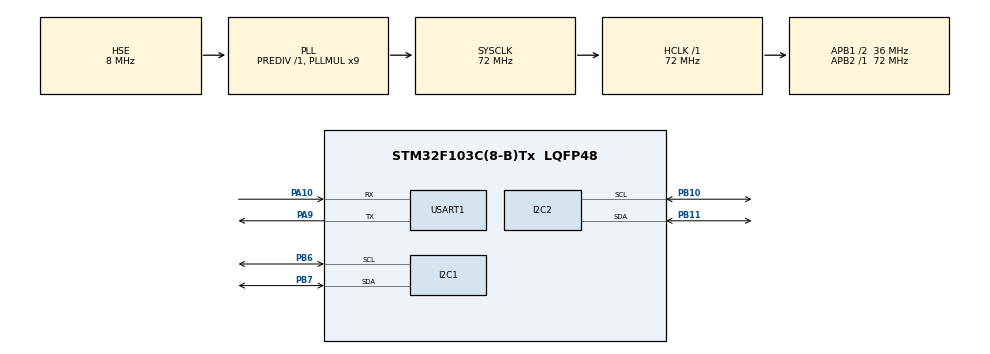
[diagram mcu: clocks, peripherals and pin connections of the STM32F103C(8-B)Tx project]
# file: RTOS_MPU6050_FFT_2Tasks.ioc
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FREERTOS.INCLUDE_vTaskDelayUntil=1
FREERTOS.Mutexes01=myMutex01,Dynamic,NULL
FREERTOS.Tasks01=FFT_and_Send,0,2000,FFT_and_Send_Task,Default,NULL,Dynamic,NULL,NULL;Sample,0,128,Sample_Task,Default,NULL,Dynamic,NULL,NULL
FREERTOS.configCHECK_FOR_STACK_OVERFLOW=2
FREERTOS.configTOTAL_HEAP_SIZE=10000
FREERTOS.configUSE_MALLOC_FAILED_HOOK=1
I2C1.I2C_Mode=I2C_Fast
Mcu.Family=STM32F1
Mcu.Name=STM32F103C(8-B)Tx
Mcu.Package=LQFP48
NVIC.PriorityGroup=NVIC_PRIORITYGROUP_4
NVIC.TIM2_IRQn=true\:15\:0\:false\:false\:true\:false\:false\:true\:true
NVIC.TimeBase=TIM2_IRQn
NVIC.TimeBaseIP=TIM2
PA10.Mode=Asynchronous
PA10.Signal=USART1_RX
PA9.Mode=Asynchronous
PA9.Signal=USART1_TX
PB10.Mode=I2C
PB10.Signal=I2C2_SCL
PB11.Mode=I2C
PB11.Signal=I2C2_SDA
PB6.Mode=I2C
PB6.Signal=I2C1_SCL
PB7.Mode=I2C
PB7.Signal=I2C1_SDA
PC14-OSC32_IN.Mode=LSE-External-Oscillator
PC14-OSC32_IN.Signal=RCC_OSC32_IN
PC15-OSC32_OUT.Mode=LSE-External-Oscillator
PC15-OSC32_OUT.Signal=RCC_OSC32_OUT
PD0-OSC_IN.Mode=HSE-External-Oscillator
PD0-OSC_IN.Signal=RCC_OSC_IN
PD1-OSC_OUT.Mode=HSE-External-Oscillator
PD1-OSC_OUT.Signal=RCC_OSC_OUT
ProjectManager.HeapSize=0x200
ProjectManager.StackSize=0x400
ProjectManager.TargetToolchain=STM32CubeIDE
RCC.AHBFreq_Value=72000000
RCC.APB1CLKDivider=RCC_HCLK_DIV2
RCC.APB1Freq_Value=36000000
RCC.APB1TimFreq_Value=72000000
RCC.APB2Freq_Value=72000000
RCC.APB2TimFreq_Value=72000000
RCC.HCLKFreq_Value=72000000
RCC.PLLMUL=RCC_PLL_MUL9
RCC.PLLSourceVirtual=RCC_PLLSOURCE_HSE
RCC.SYSCLKFreq_VALUE=72000000
RCC.SYSCLKSource=RCC_SYSCLKSOURCE_PLLCLK
RCC.USBFreq_Value=72000000
USART1.VirtualMode=VM_ASYNC
VP_FREERTOS_VS_CMSIS_V1.Mode=CMSIS_V1
VP_SYS_VS_tim2.Mode=TIM2
board=custom

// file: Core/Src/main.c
/* USER CODE BEGIN Header */
/**
  ******************************************************************************
  * @file           : main.c
  * @brief          : Main program body
  ******************************************************************************
  * @attention
  *
  * Copyright (c) 2023 STMicroelectronics.
  * All rights reserved.
  *
  * This software is licensed under terms that can be found in the LICENSE file
  * in the root directory of this software component.
  * If no LICENSE file comes with this software, it is provided AS-IS.
  *
  ******************************************************************************
  */
/* USER CODE END Header */
#include "main.h"
#include "cmsis_os.h"
#include "i2c.h"
#include "usart.h"
#include "gpio.h"

void SystemClock_Config(void);
void MX_FREERTOS_Init(void);

int main(void)
{

  /* MCU Configuration--------------------------------------------------------*/

  /* Reset of all peripherals, Initializes the Flash interface and the Systick. */
  HAL_Init();

  /* Configure the system clock */
  SystemClock_Config();

  /* Initialize all configured peripherals */
  MX_GPIO_Init();
  MX_I2C2_Init();
  MX_USART1_UART_Init();
  MX_I2C1_Init();

  /* Call init function for freertos objects (in freertos.c) */
  MX_FREERTOS_Init();

  /* Start scheduler */
  osKernelStart();
  /* We should never get here as control is now taken by the scheduler */
  /* Infinite loop */
  /* USER CODE BEGIN WHILE */
  while (1)
  {
	  // multiple tasks in freertos
    /* USER CODE END WHILE */

  }
}

void SystemClock_Config(void)
{
  RCC_OscInitTypeDef RCC_OscInitStruct = {0};
  RCC_ClkInitTypeDef RCC_ClkInitStruct = {0};

  /** Initializes the RCC Oscillators according to the specified parameters
  * in the RCC_OscInitTypeDef structure.
  */
  RCC_OscInitStruct.OscillatorType = RCC_OSCILLATORTYPE_HSE;
  RCC_OscInitStruct.HSEState = RCC_HSE_ON;
  RCC_OscInitStruct.HSEPredivValue = RCC_HSE_PREDIV_DIV1;
  RCC_OscInitStruct.HSIState = RCC_HSI_ON;
  RCC_OscInitStruct.PLL.PLLState = RCC_PLL_ON;
  RCC_OscInitStruct.PLL.PLLSource = RCC_PLLSOURCE_HSE;
  RCC_OscInitStruct.PLL.PLLMUL = RCC_PLL_MUL9;
  if (HAL_RCC_OscConfig(&RCC_OscInitStruct) != HAL_OK)
  {
    Error_Handler();
  }

  /** Initializes the CPU, AHB and APB buses clocks
  */
  RCC_ClkInitStruct.ClockType = RCC_CLOCKTYPE_HCLK|RCC_CLOCKTYPE_SYSCLK
                              |RCC_CLOCKTYPE_PCLK1|RCC_CLOCKTYPE_PCLK2;
  RCC_ClkInitStruct.SYSCLKSource = RCC_SYSCLKSOURCE_PLLCLK;
  RCC_ClkInitStruct.AHBCLKDivider = RCC_SYSCLK_DIV1;
  RCC_ClkInitStruct.APB1CLKDivider = RCC_HCLK_DIV2;
  RCC_ClkInitStruct.APB2CLKDivider = RCC_HCLK_DIV1;

  if (HAL_RCC_ClockConfig(&RCC_ClkInitStruct, FLASH_LATENCY_2) != HAL_OK)
  {
    Error_Handler();
  }
}

void HAL_TIM_PeriodElapsedCallback(TIM_HandleTypeDef *htim)
{
  if (htim->Instance == TIM2) {
    HAL_IncTick();
  }
}

void Error_Handler(void)
{
  __disable_irq();
  while (1)
  {
  }
}

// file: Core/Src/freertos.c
/* USER CODE BEGIN Header */
/**
  ******************************************************************************
  * File Name          : freertos.c
  * Description        : Code for freertos applications
  ******************************************************************************
  * @attention
  *
  * Copyright (c) 2023 STMicroelectronics.
  * All rights reserved.
  *
  * This software is licensed under terms that can be found in the LICENSE file
  * in the root directory of this software component.
  * If no LICENSE file comes with this software, it is provided AS-IS.
  *
  ******************************************************************************
  */
/* USER CODE END Header */

#include "FreeRTOS.h"
#include "task.h"
#include "main.h"
#include "cmsis_os.h"

/* USER CODE BEGIN Includes */
#include <math.h>
#include <stdio.h>
#include <stdlib.h>
#include <string.h>
#include "fonts.h"
#include "ssd1306.h"
/* USER CODE END Includes */

/* USER CODE BEGIN PTD */
typedef struct MPU6050
{
	int16_t Accel_X_RAW; //raw data of acceleration x (16384 means 1 g)
	int16_t Accel_Y_RAW; //raw data of acceleration y
	int16_t Accel_Z_RAW; //raw data of acceleration z

	//float Ax, Ay, Az;

	void (*Init)(void);
	void (*Read_Accel)(struct MPU6050_t*);
}MPU6050_t;
/* USER CODE END PTD */

/* USER CODE BEGIN PD */
#define MPU6050_ADDR 0xD0 //(0b1101000 <<1) + 0
#define SMPLRT_DIV_REG 0x19
#define ACCEL_CONFIG_REG 0x1C
#define ACCEL_XOUT_H_REG 0x3B
#define TEMP_OUT_H_REG 0x41
#define PWR_MGMT_1_REG 0x6B
#define WHO_AM_I_REG 0x75

#define NPT 256 //number of samples
#define Fs 500 //Sample frequency
#define PI2 6.28318530717959 //2Pi
#define Freq_Increment (Fs*1.0/NPT) //frequency resolution

#define BUFFER_SIZE NPT // buffer size of circular buffer
typedef struct {
	uint32_t buffer[BUFFER_SIZE];
    int head;  // point at the latest data
    int tail;  // point at the oldest data
    int count; // number of elements in the buffer
} CircularBuffer;
/* USER CODE END PD */

/* USER CODE BEGIN Variables */

//input array, output array and magnitude array(normalized absolute value)
uint32_t input[NPT], output[NPT], Mag[NPT/2];

CircularBuffer buffer; //the circular buffer
MPU6050_t imu1; // the Inertial Measurement Unit

extern I2C_HandleTypeDef hi2c1; //IIC1: OLED display
extern I2C_HandleTypeDef hi2c2; //IIC2: MPU6050
extern UART_HandleTypeDef huart1; //UART: communicate with the host computer

/* USER CODE END Variables */
osThreadId FFT_and_SendHandle;
osThreadId SampleHandle;
osMutexId myMutex01Handle;

/* USER CODE BEGIN FunctionPrototypes */
void MPU6050_Init (void)//(MPU6050_t *imu1)
{
	uint8_t check;
	uint8_t Data;
	char str[50];
	uint8_t stat;

	HAL_Delay(50);
	// check device ID WHO_AM_I

	stat=HAL_I2C_Mem_Read (&hi2c2, MPU6050_ADDR,WHO_AM_I_REG,1, &check, 1, 1000);
	if (stat != HAL_OK)
	{
		NVIC_SystemReset();
	}

	if (check == 0x68)  // 0x68 will be returned by the sensor if everything goes well
	{
		// power management register 0X6B we should write all 0's to wake the sensor up
		Data = 0;
		HAL_I2C_Mem_Write(&hi2c2, MPU6050_ADDR, PWR_MGMT_1_REG, 1,&Data, 1, 1000);

		// Set DATA RATE of 1KHz by writing SMPLRT_DIV register
		Data = 0x07;
		HAL_I2C_Mem_Write(&hi2c2, MPU6050_ADDR, SMPLRT_DIV_REG, 1, &Data, 1, 1000);

		// Set accelerometer configuration in ACCEL_CONFIG Register
		// XA_ST=0,YA_ST=0,ZA_ST=0, FS_SEL=0 -> �??????????????? 2g
		Data = 0x00;
		HAL_I2C_Mem_Write(&hi2c2, MPU6050_ADDR, ACCEL_CONFIG_REG, 1, &Data, 1, 1000);

		sprintf(str, "MPU6050 initialized.\r\n");
		HAL_UART_Transmit(&huart1,(uint8_t*)str,strlen(str),0XFFFF);
	}
	else
	{
		sprintf(str, "The sensor is not MPU6050\r\n");
		HAL_UART_Transmit(&huart1,(uint8_t*)str,strlen(str),0XFFFF);
		HAL_Delay(10);
	}

}

void MPU6050_Read_Accel (MPU6050_t *imu1)
{
	uint8_t Rec_Data[6];
	uint8_t stat;

	// Read 6 BYTES of data starting from ACCEL_XOUT_H register

	stat=HAL_I2C_Mem_Read (&hi2c2, MPU6050_ADDR, ACCEL_XOUT_H_REG, 1, Rec_Data, 6, 1000);

	if (stat != HAL_OK)
	{
		NVIC_SystemReset();
	}

	imu1->Accel_X_RAW = (int16_t)(Rec_Data[0] << 8 | Rec_Data [1]);
	imu1->Accel_Y_RAW = (int16_t)(Rec_Data[2] << 8 | Rec_Data [3]);
	imu1->Accel_Z_RAW = (int16_t)(Rec_Data[4] << 8 | Rec_Data [5]);

	/*** convert the RAW values into acceleration in 'g'
	     we have to divide according to the Full scale value set in FS_SEL
	     I have configured FS_SEL = 0. So I am dividing by 16384.0
	     for more details check ACCEL_CONFIG Register              ****/

//	imu1->Ax = imu1->Accel_X_RAW/16384.0;
//	imu1->Ay = imu1->Accel_Y_RAW/16384.0;
//	imu1->Az = imu1->Accel_Z_RAW/16384.0;
}

void PowerMag()
{
	int16_t lX,lY;
	uint16_t i;
	char str[50];
	float mag;
	// the magnitude
	for (i=0; i <NPT/2+1; i++)
	{
		lX= (output[i]<<16)>>16; //real part (LSB)
		lY= (output[i]>> 16);	//imaginary part
		mag = sqrtf(lX*lX+ lY*lY);//magnitude
		Mag[i]= mag*2;//for alternating component: mag*2

	}
	//for zero frequency component: mag=mag*2/2
	Mag[0] = Mag[0]>>1;// /2

}

void initCircularBuffer(CircularBuffer *cb)
{
    cb->head = 0;
    cb->tail = 0;
    cb->count = 0;
}

void addToCircularBuffer(CircularBuffer *cb, uint32_t data)
{
    cb->buffer[cb->head] = data;
    cb->head = (cb->head + 1) % BUFFER_SIZE; // increase head
    if (cb->count < BUFFER_SIZE) {
        cb->count++; // buffer not full, add count
    } else {
        cb->tail = (cb->tail + 1) % BUFFER_SIZE; // buffer is full, cover the oldest element
    }
}

int readFromCircularBuffer(CircularBuffer *cb)
{
    int data = cb->buffer[cb->tail];
    cb->tail = (cb->tail + 1) % BUFFER_SIZE; // increase tail
    if (cb->count > 0) {
        cb->count--; // decrease count
    }
    return data;
}

int getCircularBufferCount(CircularBuffer *cb)
{
    return cb->count;
}

void copyCircularBufferToArray(CircularBuffer *cb, int* array, int size)
{
    int originalCount = cb->count; // original number of elements
    int i;
    for (i = 0; i < size; i++) {
        array[i] = readFromCircularBuffer(cb);
    }
    cb->count = originalCount; // recover original number of elements
}

void printCircularBuffer(CircularBuffer *cb)
{
    int i;
    for (i = 0; i < BUFFER_SIZE; i++) {
        int index = (cb->tail + i) % BUFFER_SIZE; // the index of ele to be printed
        printf("Buffer[%d]: %d\n", i, cb->buffer[index]);
    }
}

int findMaxIndex(int arr[], int size)
{
    int maxIndex = 0; // store the index of the max. element

    for (int i = 1; i < size; i++) {
        if (arr[i] > arr[maxIndex]) {
            maxIndex = i; // update the index of the max. element
        }
    }

    return maxIndex;
}

/* USER CODE END FunctionPrototypes */

void FFT_and_Send_Task(void const * argument);
void Sample_Task(void const * argument);

void MX_FREERTOS_Init(void); /* (MISRA C 2004 rule 8.1) */

/* GetIdleTaskMemory prototype (linked to static allocation support) */
void vApplicationGetIdleTaskMemory( StaticTask_t **ppxIdleTaskTCBBuffer, StackType_t **ppxIdleTaskStackBuffer, uint32_t *pulIdleTaskStackSize );

/* Hook prototypes */
void vApplicationStackOverflowHook(xTaskHandle xTask, signed char *pcTaskName);
void vApplicationMallocFailedHook(void);

/* USER CODE BEGIN 4 */
__weak void vApplicationStackOverflowHook(xTaskHandle xTask, signed char *pcTaskName)
{
   /* Run time stack overflow checking is performed if
   configCHECK_FOR_STACK_OVERFLOW is defined to 1 or 2. This hook function is
   called if a stack overflow is detected. */
	char str[50];
	sprintf(str, "Task stack overflow detected.%d\r\n");
	HAL_UART_Transmit(&huart1,(uint8_t*)str,strlen(str),0XFFFF);
}
/* USER CODE END 4 */

/* USER CODE BEGIN 5 */
__weak void vApplicationMallocFailedHook(void)
{
   /* vApplicationMallocFailedHook() will only be called if
   configUSE_MALLOC_FAILED_HOOK is set to 1 in FreeRTOSConfig.h. It is a hook
   function that will get called if a call to pvPortMalloc() fails.
   pvPortMalloc() is called internally by the kernel whenever a task, queue,
   timer or semaphore is created. It is also called by various parts of the
   demo application. If heap_1.c or heap_2.c are used, then the size of the
   heap available to pvPortMalloc() is defined by configTOTAL_HEAP_SIZE in
   FreeRTOSConfig.h, and the xPortGetFreeHeapSize() API function can be used
   to query the size of free heap space that remains (although it does not
   provide information on how the remaining heap might be fragmented). */
	char str[50];
	sprintf(str, "MallocFailed\r\n");
	HAL_UART_Transmit(&huart1,(uint8_t*)str,strlen(str),0XFFFF);
}
/* USER CODE END 5 */

/* USER CODE BEGIN GET_IDLE_TASK_MEMORY */
static StaticTask_t xIdleTaskTCBBuffer;
static StackType_t xIdleStack[configMINIMAL_STACK_SIZE];

void vApplicationGetIdleTaskMemory( StaticTask_t **ppxIdleTaskTCBBuffer, StackType_t **ppxIdleTaskStackBuffer, uint32_t *pulIdleTaskStackSize )
{
  *ppxIdleTaskTCBBuffer = &xIdleTaskTCBBuffer;
  *ppxIdleTaskStackBuffer = &xIdleStack[0];
  *pulIdleTaskStackSize = configMINIMAL_STACK_SIZE;
  /* place for user code */
}
/* USER CODE END GET_IDLE_TASK_MEMORY */

void MX_FREERTOS_Init(void) {
  /* Create the mutex(es) */
  /* definition and creation of myMutex01 */
  osMutexDef(myMutex01);
  myMutex01Handle = osMutexCreate(osMutex(myMutex01));

  /* Create the thread(s) */
  /* definition and creation of FFT_and_Send */
  osThreadDef(FFT_and_Send, FFT_and_Send_Task, osPriorityNormal, 0, 2000);
  FFT_and_SendHandle = osThreadCreate(osThread(FFT_and_Send), NULL);

  /* definition and creation of Sample */
  osThreadDef(Sample, Sample_Task, osPriorityNormal, 0, 128);
  SampleHandle = osThreadCreate(osThread(Sample), NULL);

}

void FFT_and_Send_Task(void const * argument)
{
  /* USER CODE BEGIN FFT_and_Send_Task */

	  char str[50];
	  int len;

	  int size;//size of Mag[]
	  int maxIndex;//the index of the max. element in Mag[]

	  int index=1;

	  SSD1306_Init();
	  SSD1306_GotoXY (0,0);
	  SSD1306_Puts ("Frequency:", &Font_11x18, 1);
	  SSD1306_UpdateScreen();

	  TickType_t pxPreviousWakeTime;
	  pxPreviousWakeTime = xTaskGetTickCount();

  /* Infinite loop */
  for(;;)
  {

	  if(buffer.count<NPT)//data not enough in the circular buffer
	  {

	  }
	  else//data enough
	  {

			uint32_t* input = (uint32_t*)calloc(NPT , sizeof(uint32_t));
  //		    if (input == NULL) {
  //		        printf("Memory allocation failed.\n");
  //		        return 1;
  //		    }

		  xSemaphoreTake(myMutex01Handle,portMAX_DELAY);//take the mutex
		  copyCircularBufferToArray(&buffer, input, BUFFER_SIZE);
		  xSemaphoreGive(myMutex01Handle);//release the mutex

		  cr4_fft_256_stm32(output, input, NPT);//FFT
		  free(input);

		  PowerMag();//calculate the magnitude of FFT result

		  size = sizeof(Mag) / sizeof(Mag[0]);

		  //the index of the max. element in Mag[]
		  //the frequency with the max. magnitude
		  maxIndex = findMaxIndex(Mag, size);

		  sprintf(str, "%.2f Hz     ", (float)(maxIndex*Freq_Increment));

		  SSD1306_GotoXY (0,30);
		  SSD1306_Puts (str, &Font_11x18, 1);
		  SSD1306_UpdateScreen();

		  //UART send
		  sprintf(str, "Start\r\n");
		  HAL_UART_Transmit(&huart1,(uint8_t*)str,strlen(str),0XFFFF);

		  for(int i=0;i<NPT/2+1;i++)
		  {
			  sprintf(str, "%u\r\n", Mag[i]);
			  HAL_UART_Transmit(&huart1,(uint8_t*)str,strlen(str),0XFFFF);
		  }

		  sprintf(str, "End\r\n");
		  HAL_UART_Transmit(&huart1,(uint8_t*)str,strlen(str),0XFFFF);

//		  if(index==4)
//		  {
//			  sprintf(str, "------------------\r\n");
//			  HAL_UART_Transmit(&huart1,(uint8_t*)str,strlen(str),0XFFFF);
//		  }
//
//		  if(index<4)index++;
//		  else index=1;

	  }

	  vTaskDelayUntil(&pxPreviousWakeTime, 250);//time interval 250ms
  }
  /* USER CODE END FFT_and_Send_Task */
}

void Sample_Task(void const * argument)
{
  /* USER CODE BEGIN Sample_Task */
	uint32_t total_acc_16384;//16384 means 1 g

	initCircularBuffer(&buffer);

	MPU6050_t imu1=
		  {
				  .Accel_X_RAW=0,
				  .Accel_Y_RAW=0,
				  .Accel_Z_RAW=0,
				  .Init=MPU6050_Init,
				  .Read_Accel=MPU6050_Read_Accel
		  };

	  imu1.Init(); // must initialized after I2C2

	TickType_t pxPreviousWakeTime;
	pxPreviousWakeTime = xTaskGetTickCount();
  /* Infinite loop */
  for(;;)
  {
	  imu1.Read_Accel(&imu1);

	  total_acc_16384=sqrt(imu1.Accel_X_RAW*imu1.Accel_X_RAW+\
			  imu1.Accel_Y_RAW*imu1.Accel_Y_RAW+\
			  imu1.Accel_Z_RAW*imu1.Accel_Z_RAW);

	  xSemaphoreTake(myMutex01Handle,portMAX_DELAY);//take the mutex
	  addToCircularBuffer(&buffer, total_acc_16384);
	  xSemaphoreGive(myMutex01Handle);//release the mutex

	  vTaskDelayUntil(&pxPreviousWakeTime, 2);//time interval 2ms
  }
  /* USER CODE END Sample_Task */
}
